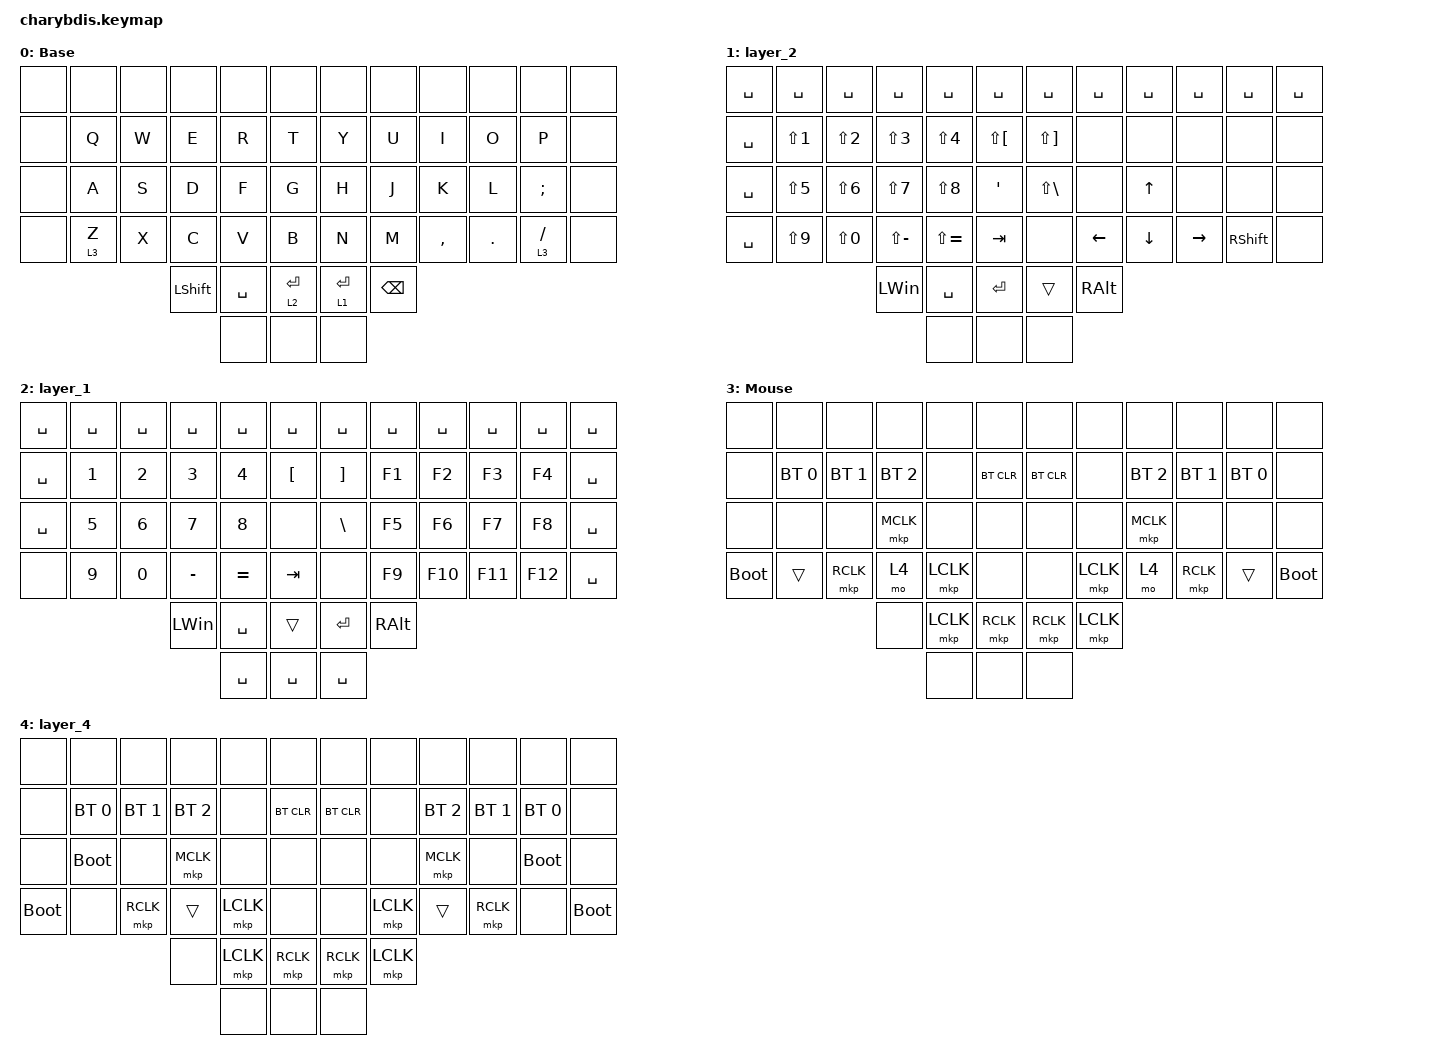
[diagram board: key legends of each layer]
#include <dt-bindings/zmk/mouse.h>
#include <behaviors.dtsi>
#include <dt-bindings/zmk/bt.h>
#include <dt-bindings/zmk/keys.h>
#include <dt-bindings/zmk/pointing.h>

&lt {
    tapping-term-ms = <200>;
    flavor = "balanced";
    quick-tap-ms = <150>;
};

/ {
    combos { compatible = "zmk,combos"; };

    keymap {
        compatible = "zmk,keymap";

        Base {
            bindings = <
&none  &none    &none  &none           &none      &none          &none        &none          &none      &none    &none        &none
&none  &kp Q    &kp W  &kp E           &kp R      &kp T          &kp Y        &kp U          &kp I      &kp O    &kp P        &none
&none  &kp A    &kp S  &kp D           &kp F      &kp G          &kp H        &kp J          &kp K      &kp L    &kp SEMI     &none
&none  &lt 3 Z  &kp X  &kp C           &kp V      &kp B          &kp N        &kp M          &kp COMMA  &kp DOT  &lt 3 SLASH  &none
                       &kp LEFT_SHIFT  &kp SPACE  &lt 2 ENTER    &lt 1 ENTER  &kp BACKSPACE
                                       &none      &none          &none
            >;
        };

        layer_2 {
            bindings = <
&kp SPACE  &kp SPACE   &kp SPACE   &kp SPACE      &kp SPACE      &kp SPACE         &kp SPACE          &kp SPACE      &kp SPACE  &kp SPACE  &kp SPACE        &kp SPACE
&kp SPACE  &kp LS(N1)  &kp LS(N2)  &kp LS(N3)     &kp LS(N4)     &kp LS(LBKT)      &kp LS(RBKT)       &none          &none      &none      &none            &none
&kp SPACE  &kp LS(N5)  &kp LS(N6)  &kp LS(N7)     &kp LS(N8)     &kp APOSTROPHE    &kp LS(BACKSLASH)  &none          &kp UP     &none      &none            &none
&kp SPACE  &kp LS(N9)  &kp LS(N0)  &kp LS(MINUS)  &kp LS(EQUAL)  &kp TAB           &none              &kp LEFT       &kp DOWN   &kp RIGHT  &kp RIGHT_SHIFT  &none
                                   &kp LEFT_WIN   &kp SPACE      &kp ENTER         &trans             &kp RIGHT_ALT
                                                  &none          &none             &none
            >;
        };

        layer_1 {
            bindings = <
&kp SPACE  &kp SPACE     &kp SPACE     &kp SPACE     &kp SPACE     &kp SPACE    &kp SPACE      &kp SPACE      &kp SPACE  &kp SPACE  &kp SPACE  &kp SPACE
&kp SPACE  &kp NUMBER_1  &kp NUMBER_2  &kp NUMBER_3  &kp NUMBER_4  &kp LBKT     &kp RBKT       &kp F1         &kp F2     &kp F3     &kp F4     &kp SPACE
&kp SPACE  &kp NUMBER_5  &kp NUMBER_6  &kp NUMBER_7  &kp NUMBER_8  &none        &kp BACKSLASH  &kp F5         &kp F6     &kp F7     &kp F8     &kp SPACE
&none      &kp NUMBER_9  &kp NUMBER_0  &kp MINUS     &kp EQUAL     &kp TAB      &none          &kp F9         &kp F10    &kp F11    &kp F12    &kp SPACE
                                       &kp LEFT_WIN  &kp SPACE     &trans       &kp ENTER      &kp RIGHT_ALT
                                                     &kp SPACE     &kp SPACE    &kp SPACE
            >;
        };

        Mouse {
            bindings = <
&none        &none         &none         &none         &none      &none         &none       &none      &none         &none         &none         &none
&none        &bt BT_SEL 0  &bt BT_SEL 1  &bt BT_SEL 2  &none      &bt BT_CLR    &bt BT_CLR  &none      &bt BT_SEL 2  &bt BT_SEL 1  &bt BT_SEL 0  &none
&none        &none         &none         &mkp MCLK     &none      &none         &none       &none      &mkp MCLK     &none         &none         &none
&bootloader  &trans        &mkp RCLK     &mo 4         &mkp LCLK  &none         &none       &mkp LCLK  &mo 4         &mkp RCLK     &trans        &bootloader
                                         &none         &mkp LCLK  &mkp RCLK     &mkp RCLK   &mkp LCLK
                                                       &none      &none         &none
            >;
        };

        layer_4 {
            bindings = <
&none        &none         &none         &none         &none      &none         &none       &none      &none         &none         &none         &none
&none        &bt BT_SEL 0  &bt BT_SEL 1  &bt BT_SEL 2  &none      &bt BT_CLR    &bt BT_CLR  &none      &bt BT_SEL 2  &bt BT_SEL 1  &bt BT_SEL 0  &none
&none        &bootloader   &none         &mkp MCLK     &none      &none         &none       &none      &mkp MCLK     &none         &bootloader   &none
&bootloader  &none         &mkp RCLK     &trans        &mkp LCLK  &none         &none       &mkp LCLK  &trans        &mkp RCLK     &none         &bootloader
                                         &none         &mkp LCLK  &mkp RCLK     &mkp RCLK   &mkp LCLK
                                                       &none      &none         &none
            >;
        };
    };
};
